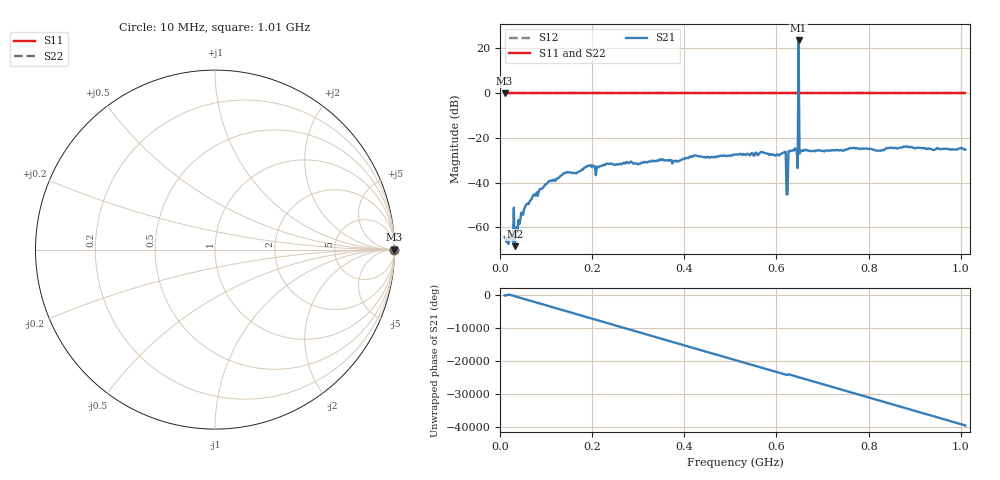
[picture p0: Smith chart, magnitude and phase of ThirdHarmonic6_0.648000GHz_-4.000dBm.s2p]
! 8/15/2025 9:28:41 PM
! C:\ANRITSUVNA\TEMP\TEMP.S2P
! CHANNEL.1
! TR.MEASUREMENT
! RAW.DATA
! RF.CORRECTION.OFF
! AVERAGING.OFF
! IF.BANDWIDTH: 5KHZ
! SWEEPTYPE:  FREQ.SWEEP(Linear)
! Reference Plane Port Info
! PORT:  PORT1  PORT2
! DISTANCE:  0  m  0  m
! TIME:  0  s  0  s
! PHASE.OFFSET:  0  deg.  0  deg.
! LOSS:  0  dB  0  dB
! REF.LOSS:  0  dB  0  dB
! REF.FREQ:  0  Hz  0  Hz
! Power Info
! POWER:  -20  dBm  -20  dBm
! EFF.POWER:  -20  dBm  -20  dBm
! SOURCE.ATTEN:  0  dB  0  dB
! TEST.ATTEN:  0  dB  0  dB
# GHZ S RI R 50.0
! FREQ.GHZ  S11RE  S11IM  S21RE  S21IM  S12RE  S12IM  S22RE  S22IM
!; PortSelection: Port_12
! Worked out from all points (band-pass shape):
!   501 points, 10 MHz to 1.01 GHz, reference 50 ohm
!   highest |S21| = 23.56 dB at 648 MHz (marker M1); lowest = -68.5 dB at 32 MHz (marker M2)
!   |S21| within 3 dB of the highest: 647.8949 MHz to 648.1186 MHz (223.7 kHz wide, 0.0345 % of centre)
!   lowest |S11| = 0.0 dB at 10 MHz (marker M3)
!   |S11| at or under -10 dB: nowhere
!   |S22| runs from 0.0 to 0.0 dB; largest |S21 - S12| = 15
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0.01  1 0  -0.00037 -0.000479  1 0  1 0
0.018  1 0  0.000273 0.000321  1 0  1 0
0.032  1 0  0.000349 -0.000142  1 0  1 0
0.036  1 0  -0.000992 -0.000144  1 0  1 0
0.056  1 0  -0.000703 0.00303  1 0  1 0
0.102  1 0  0.00837 0.00454  1 0  1 0
0.142  1 0  -0.0151 -0.00583  1 0  1 0
0.178  1 0  -0.0191 -0.0044  1 0  1 0
0.344  1 0  0.0295 -0.00777  1 0  1 0
0.51  1 0  -0.0382 0.0182  1 0  1 0
0.616  1 0  -0.0352 -0.0314  1 0  1 0
0.62  1 0  0.0245 0.0418  1 0  1 0
0.626  1 0  -0.0503 0.00216  1 0  1 0
0.63  1 0  0.0495 0.0143  1 0  1 0
0.642  1 0  -0.0207 -0.0491  1 0  1 0
0.644  1 0  -0.0526 0.0126  1 0  1 0
0.648  1 0  4.667 -14.33  1 0  1 0
0.652  1 0  -0.0464 -0.0199  1 0  1 0
0.654  1 0  -0.0291 0.0414  1 0  1 0
0.678  1 0  -0.0277 -0.0418  1 0  1 0
0.844  1 0  0.0479 0.0344  1 0  1 0
1.01  1 0  -0.0541 -0.00426  1 0  1 0
